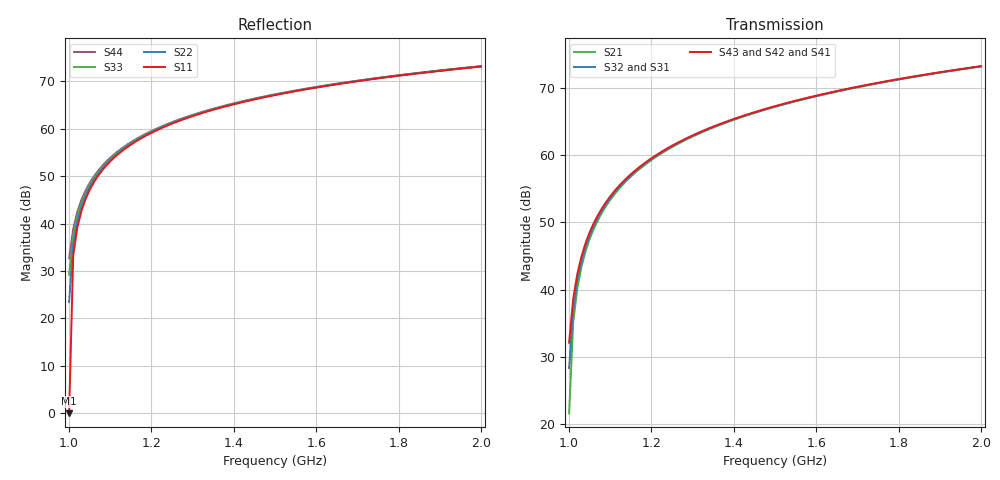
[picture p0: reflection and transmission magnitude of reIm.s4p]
! RsaToolbox (C) 2014 Rohde & Schwarz America
! Number of points: 101
! Number of ports: 4
! Balanced ports?: No
# GHz S RI R 50
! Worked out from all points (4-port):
!   101 points, 1 GHz to 2 GHz, reference 50 ohm
!   strongest paths, dB at 1 GHz, 1.25 GHz, 1.5 GHz, 1.75 GHz, 2 GHz:
!     S43: 32.1, 61.4, 67.2, 70.7, 73.2
!     S42: 31.5, 61.4, 67.2, 70.7, 73.2
!     S41: 30.8, 61.3, 67.2, 70.7, 73.2
!     S32: 28.4, 61.3, 67.2, 70.7, 73.2
!     S31: 27.4, 61.2, 67.2, 70.7, 73.2
!     S21: 21.6, 61.2, 67.1, 70.6, 73.1
!   lowest |S11| = 0.0 dB at 1 GHz (marker M1)
!   |S11| at or under -10 dB: nowhere
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1  0 1  2 3  4 5  6 7
   8 9  10 11  12 13  14 15
   16 17  18 19  20 21  22 23
   24 25  26 27  28 29  30 31
1.01  32 33  34 35  36 37  38 39
      40 41  42 43  44 45  46 47
      48 49  50 51  52 53  54 55
      56 57  58 59  60 61  62 63
1.02  64 65  66 67  68 69  70 71
      72 73  74 75  76 77  78 79
      80 81  82 83  84 85  86 87
      88 89  90 91  92 93  94 95
1.06  192 193  194 195  196 197  198 199
      200 201  202 203  204 205  206 207
      208 209  210 211  212 213  214 215
      216 217  218 219  220 221  222 223
1.14  448 449  450 451  452 453  454 455
      456 457  458 459  460 461  462 463
      464 465  466 467  468 469  470 471
      472 473  474 475  476 477  478 479
1.22  704 705  706 707  708 709  710 711
      712 713  714 715  716 717  718 719
      720 721  722 723  724 725  726 727
      728 729  730 731  732 733  734 735
2  3200 3201  3202 3203  3204 3205  3206 3207
   3208 3209  3210 3211  3212 3213  3214 3215
   3216 3217  3218 3219  3220 3221  3222 3223
   3224 3225  3226 3227  3228 3229  3230 3231
